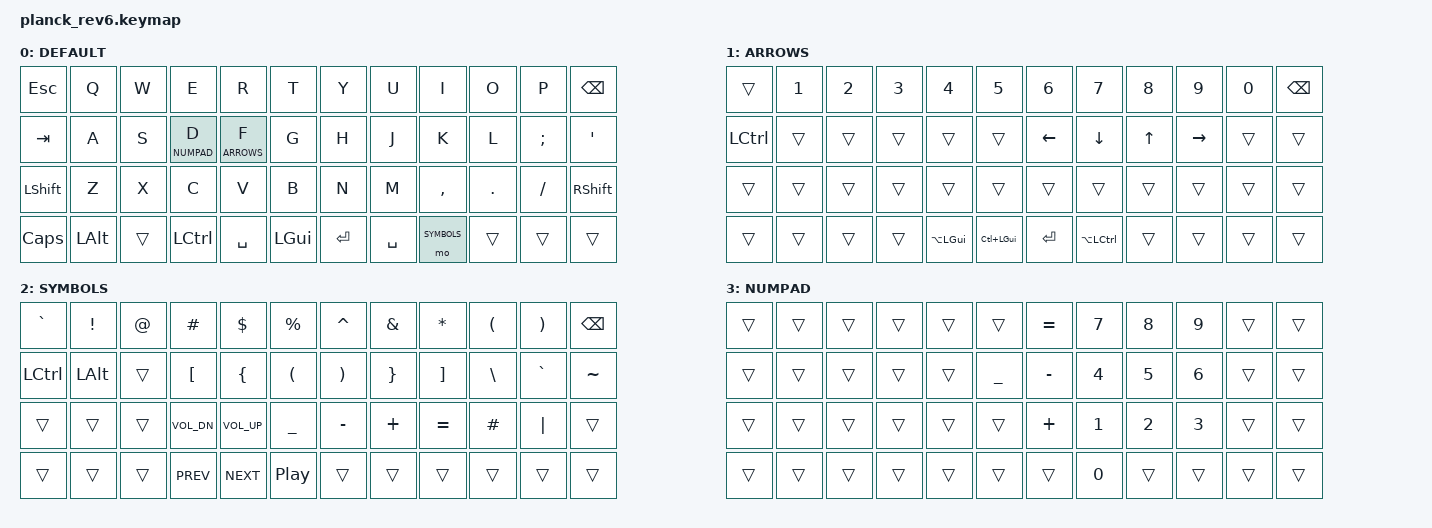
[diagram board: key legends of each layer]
/*
 * Copyright (c) 2020 The ZMK Contributors
 *
 * SPDX-License-Identifier: MIT
 */

#include <behaviors.dtsi>
#include <dt-bindings/zmk/keys.h>
#include <dt-bindings/zmk/rgb.h>
#include <dt-bindings/zmk/backlight.h>

#define DEFAULT 0
#define ARROWS 1
#define SYMBOLS 2
#define NUMPAD 3

/ {
    keymap {
        compatible = "zmk,keymap";

        DEFAULT {  
            bindings = <
              &kp ESC  &kp Q    &kp W &kp E &kp R &kp T  &kp Y   &kp U  &kp I    &kp O   &kp P    &kp BSPC
              &kp TAB  &kp A    &kp S &lt NUMPAD D &lt ARROWS F &kp G  &kp H   &kp J  &kp K    &kp L   &kp SEMI &kp SQT
              &kp LSHFT &kp Z    &kp X &kp C &kp V &kp B  &kp N   &kp M  &kp COMMA &kp DOT &kp SLASH &kp RSHIFT
              &kp CAPS &kp LALT &trans &kp LCTL &kp SPACE &kp LGUI &kp ENTER &kp SPACE &mo SYMBOLS &trans &trans &trans 
            >;
        };

        ARROWS {
            bindings = <
               &trans &kp N1 &kp N2 &kp N3 &kp N4 &kp N5 &kp N6 &kp N7 &kp N8 &kp N9 &kp N0 &kp BSPC
              &kp LCTL  &trans &trans &trans &trans &trans &kp LEFT   &kp DOWN  &kp UP  &kp RIGHT &trans &trans 
              &trans &trans &trans &trans &trans &trans &trans &trans &trans &trans &trans &trans
              &trans &trans &trans &trans  &kp LA(LGUI) &kp LC(LGUI) &kp ENTER &kp LA(LCTRL) &trans &trans &trans &trans 
            >;
        };

        SYMBOLS {
            bindings = <
                &kp GRAVE &kp EXCL &kp AT &kp HASH &kp DLLR &kp PRCNT &kp CARET &kp AMPS &kp ASTRK &kp LPAR &kp RPAR &kp BSPC
                &kp LCTL &kp LALT &trans &kp LBKT &kp LBRC &kp LPAR &kp RPAR &kp RBRC &kp RBKT &kp BSLH &kp GRAVE &kp TILDE
                &trans &trans &trans &kp C_VOL_DN &kp C_VOL_UP &kp UNDER &kp MINUS &kp PLUS &kp EQUAL &kp HASH &kp PIPE &trans
                &trans &trans &trans &kp C_PREV &kp C_NEXT &kp C_PP &trans &trans &trans &trans &trans &trans 
            >;
        };

        NUMPAD {
            bindings = <
                &trans &trans &trans &trans &trans &trans &kp EQUAL &kp N7 &kp N8 &kp N9 &trans &trans
                &trans &trans &trans &trans &trans &kp UNDER &kp MINUS &kp N4 &kp N5 &kp N6 &trans &trans
                &trans &trans &trans &trans &trans &trans &kp PLUS &kp N1 &kp N2 &kp N3 &trans &trans
                &trans &trans &trans &trans &trans &trans &trans &kp N0 &trans &trans &trans &trans
            >;
        };
    };
};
